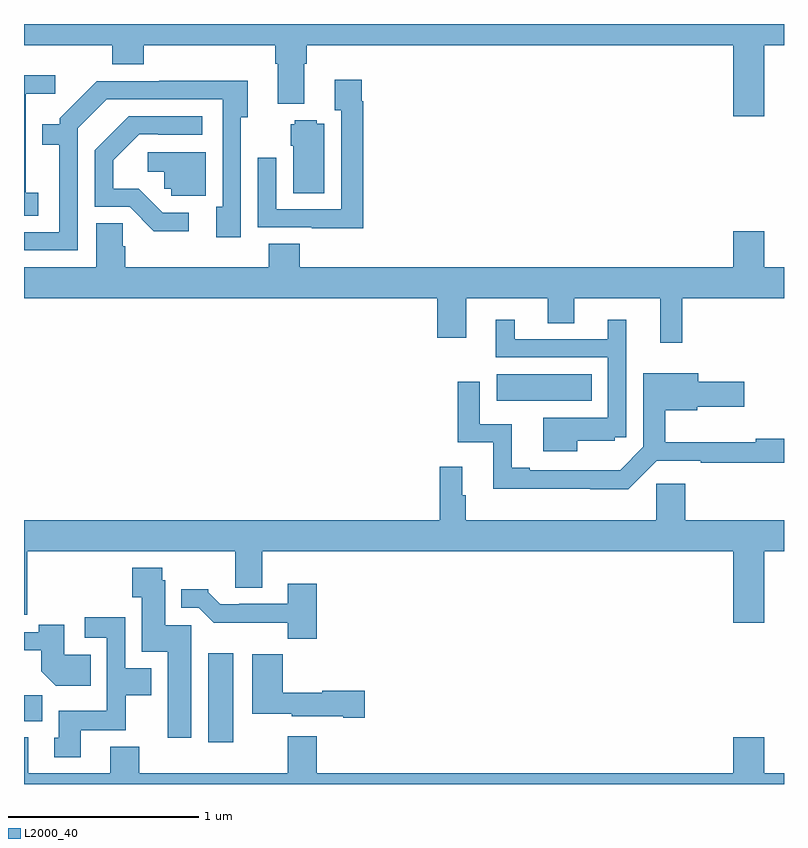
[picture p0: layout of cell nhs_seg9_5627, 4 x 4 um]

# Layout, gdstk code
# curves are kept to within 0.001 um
import gdstk
lib = gdstk.Library(unit=1e-6, precision=1e-09)
def R(c, l, rs):  # rectangles x0, y0, x1, y1
    for r in rs: c.add(gdstk.rectangle(r[:2], r[2:], *l))
def P(c, l, *ps):  # polygons
    for p in ps: c.add(gdstk.Polygon(p, *l))
L2000_40 = (2000, 40)

nhs_seg9_5627 = lib.new_cell('nhs_seg9_5627')
R(nhs_seg9_5627, L2000_40, [(437.969,1224.72,438.1,1225.189), (437,1224.83,437.095,1224.968), (439.488,1226.516,439.988,1226.656)])
P(nhs_seg9_5627, L2000_40, [(440.896,1228.388),(441,1228.388),(441,1228.5),(437,1228.5),(437,1228.388),(437.465,1228.388),(437.465,1228.289),(437.63,1228.289),(437.63,1228.388),(438.323,1228.388),(438.323,1228.292),(438.335,1228.292),(438.335,1228.079),(438.475,1228.079),(438.475,1228.292),(438.488,1228.292),(438.488,1228.388),(440.732,1228.388),(440.732,1228.014),(440.896,1228.014)],
  [(437.074,1227.612),(437.01,1227.612),(437.01,1228.133),(437.164,1228.133),(437.164,1228.231),(437,1228.231),(437,1227.49),(437.074,1227.49)],
  [(438.785,1228.094),(438.778,1228.094),(438.778,1228.207),(438.635,1228.207),(438.635,1228.046),(438.669,1228.046),(438.669,1227.525),(438.327,1227.525),(438.327,1227.796),(438.231,1227.796),(438.231,1227.429),(438.515,1227.429),(438.515,1227.425),(438.785,1227.425)],
  [(437.283,1227.951),(437.436,1228.104),(438.045,1228.104),(438.045,1227.538),(438.011,1227.538),(438.011,1227.378),(438.141,1227.378),(438.141,1228.01),(438.178,1228.01),(438.178,1228.202),(437.713,1228.202),(437.713,1228.2),(437.382,1228.2),(437.187,1228.005),(437.187,1227.973),(437.095,1227.973),(437.095,1227.864),(437.186,1227.864),(437.186,1227.405),(437,1227.405),(437,1227.309),(437.283,1227.309)],
  [(437.866,1227.507),(437.73,1227.507),(437.603,1227.634),(437.47,1227.634),(437.47,1227.784),(437.607,1227.921),(437.707,1227.921),(437.707,1227.918),(437.938,1227.918),(437.938,1228.014),(437.552,1228.014),(437.373,1227.835),(437.373,1227.537),(437.556,1227.537),(437.684,1227.41),(437.866,1227.41)],
  [(438.58,1227.976),(438.54,1227.976),(438.54,1227.994),(438.426,1227.994),(438.426,1227.972),(438.404,1227.972),(438.404,1227.858),(438.416,1227.858),(438.416,1227.61),(438.58,1227.61)],
  [(437.956,1227.825),(437.652,1227.825),(437.652,1227.722),(437.739,1227.722),(437.739,1227.633),(437.775,1227.633),(437.775,1227.597),(437.956,1227.597)],
  [(440.465,1227.056),(441,1227.056),(441,1227.22),(440.896,1227.22),(440.896,1227.409),(440.732,1227.409),(440.732,1227.22),(438.452,1227.22),(438.452,1227.344),(438.287,1227.344),(438.287,1227.22),(437.534,1227.22),(437.534,1227.33),(437.519,1227.33),(437.519,1227.452),(437.381,1227.452),(437.381,1227.22),(437,1227.22),(437,1227.056),(439.175,1227.056),(439.175,1226.85),(439.327,1226.85),(439.327,1227.056),(439.757,1227.056),(439.757,1226.926),(439.897,1226.926),(439.897,1227.056),(440.348,1227.056),(440.348,1226.823),(440.465,1226.823)],
  [(439.912,1226.306),(440.109,1226.306),(440.109,1226.325),(440.169,1226.325),(440.169,1226.944),(440.072,1226.944),(440.072,1226.841),(439.582,1226.841),(439.582,1226.944),(439.484,1226.944),(439.484,1226.745),(440.073,1226.745),(440.073,1226.428),(439.733,1226.428),(439.733,1226.252),(439.912,1226.252)],
  [(440.331,1226.202),(440.563,1226.202),(440.563,1226.19),(441,1226.19),(441,1226.318),(440.852,1226.318),(440.852,1226.3),(440.375,1226.299),(440.375,1226.468),(440.544,1226.468),(440.544,1226.486),(440.791,1226.486),(440.791,1226.616),(440.548,1226.616),(440.548,1226.662),(440.259,1226.662),(440.259,1226.274),(440.137,1226.152),(439.663,1226.151),(439.663,1226.164),(439.567,1226.164),(439.567,1226.394),(439.398,1226.394),(439.398,1226.617),(439.282,1226.617),(439.282,1226.298),(439.469,1226.298),(439.469,1226.054),(439.981,1226.054),(439.981,1226.052),(440.18,1226.052)],
  [(440.896,1225.724),(441,1225.724),(441,1225.888),(440.48,1225.888),(440.48,1226.079),(440.328,1226.079),(440.328,1225.888),(439.325,1225.888),(439.325,1226.021),(439.306,1226.021),(439.306,1226.17),(439.189,1226.17),(439.189,1225.888),(437,1225.888),(437,1225.392),(437.018,1225.392),(437.018,1225.724),(438.113,1225.724),(438.113,1225.534),(438.253,1225.534),(438.253,1225.724),(440.732,1225.724),(440.732,1225.35),(440.896,1225.35)],
  [(437.881,1225.335),(437.743,1225.335),(437.743,1225.572),(437.727,1225.572),(437.727,1225.639),(437.57,1225.639),(437.57,1225.483),(437.621,1225.483),(437.621,1225.196),(437.756,1225.196),(437.756,1224.744),(437.881,1224.744)],
  [(438.542,1225.555),(438.389,1225.555),(438.389,1225.449),(438.133,1225.449),(438.133,1225.446),(438.034,1225.446),(437.97,1225.51),(437.97,1225.525),(437.828,1225.525),(437.828,1225.428),(437.919,1225.428),(437.998,1225.35),(438.387,1225.35),(438.387,1225.265),(438.542,1225.265)],
  [(437.299,1224.782),(437.535,1224.782),(437.535,1224.968),(437.671,1224.968),(437.671,1225.108),(437.532,1225.108),(437.532,1225.378),(437.319,1225.378),(437.319,1225.269),(437.436,1225.269),(437.436,1224.886),(437.183,1224.886),(437.183,1224.744),(437.159,1224.744),(437.159,1224.642),(437.299,1224.642)],
  [(437.351,1225.18),(437.212,1225.18),(437.212,1225.337),(437.078,1225.337),(437.078,1225.299),(437,1225.299),(437,1225.203),(437.09,1225.203),(437.09,1225.094),(437.168,1225.016),(437.351,1225.016)],
  [(438.793,1224.992),(438.57,1224.992),(438.57,1224.979),(438.362,1224.979),(438.362,1225.183),(438.2,1225.183),(438.2,1224.869),(438.408,1224.869),(438.408,1224.857),(438.68,1224.857),(438.68,1224.85),(438.793,1224.85)],
  [(441,1224.556),(440.896,1224.556),(440.896,1224.745),(440.732,1224.745),(440.732,1224.556),(438.542,1224.556),(438.542,1224.751),(438.389,1224.751),(438.389,1224.556),(437.606,1224.556),(437.606,1224.697),(437.453,1224.697),(437.453,1224.556),(437.023,1224.556),(437.023,1224.745),(437,1224.745),(437,1224.5),(441,1224.5)])

lib.write_gds('nhs_seg9_5627.gds')
